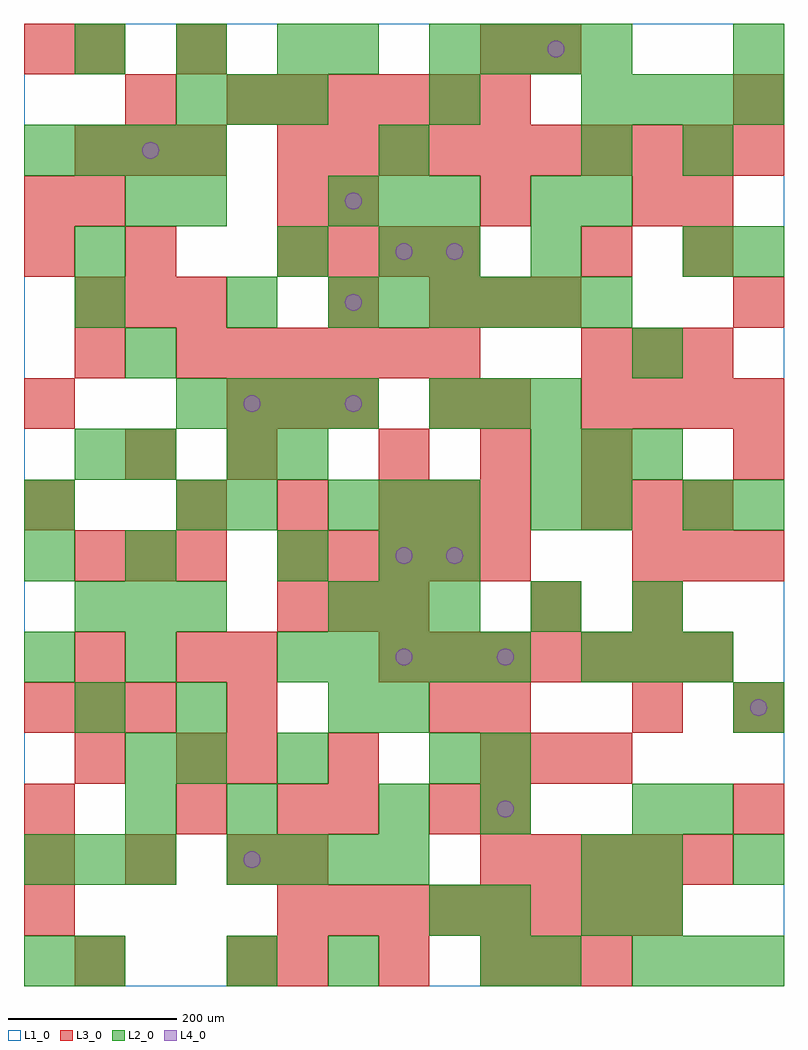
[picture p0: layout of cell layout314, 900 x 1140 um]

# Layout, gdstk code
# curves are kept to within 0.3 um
import gdstk
lib = gdstk.Library(unit=1e-6, precision=1e-09)
def R(c, l, rs):  # rectangles x0, y0, x1, y1
    for r in rs: c.add(gdstk.rectangle(r[:2], r[2:], *l))
def A(c, l, x, y, w, h, nx, ny, dx, dy):  # array of equal rectangles
    R(c, l, [(x+i*dx, y+j*dy, x+i*dx+w, y+j*dy+h) for i in range(nx) for j in range(ny)])
def P(c, l, *ps):  # polygons
    for p in ps: c.add(gdstk.Polygon(p, *l))
L1_0 = (1, 0)
L2_0 = (2, 0)
L3_0 = (3, 0)
L4_0 = (4, 0)

layout314 = lib.new_cell('layout314')
R(layout314, L1_0, [(0,0,900,1140)])
A(layout314, L2_0, 60, 0, 60, 60, 1, 3, 0, 300)
A(layout314, L2_0, 720, 0, 60, 60, 3, 1, 60, 0)
A(layout314, L2_0, 720, 60, 60, 60, 1, 3, 0, 60)
A(layout314, L2_0, 0, 120, 60, 60, 3, 1, 60, 0)
A(layout314, L2_0, 240, 120, 60, 60, 4, 1, 60, 0)
A(layout314, L2_0, 120, 240, 60, 60, 1, 5, 0, 120)
A(layout314, L2_0, 300, 360, 60, 60, 5, 1, 60, 0)
A(layout314, L2_0, 660, 360, 60, 60, 3, 1, 60, 0)
A(layout314, L2_0, 60, 420, 60, 60, 3, 1, 60, 0)
A(layout314, L2_0, 360, 420, 60, 60, 3, 2, 60, 120)
A(layout314, L2_0, 600, 600, 60, 60, 3, 1, 60, 0)
A(layout314, L2_0, 180, 660, 60, 60, 4, 1, 60, 0)
A(layout314, L2_0, 480, 660, 60, 60, 3, 1, 60, 0)
A(layout314, L2_0, 360, 780, 60, 60, 6, 1, 60, 0)
A(layout314, L2_0, 360, 900, 60, 60, 3, 1, 60, 0)
A(layout314, L2_0, 0, 960, 60, 60, 4, 1, 60, 0)
A(layout314, L2_0, 180, 1020, 60, 60, 3, 1, 60, 0)
A(layout314, L2_0, 660, 1020, 60, 60, 4, 1, 60, 0)
A(layout314, L2_0, 60, 1080, 60, 60, 3, 1, 120, 0)
A(layout314, L2_0, 480, 1080, 60, 60, 4, 1, 60, 0)
R(layout314, L2_0, [(0,0,60,60), (240,0,300,60), (360,0,420,60), (540,0,600,60), (600,0,660,60), (480,60,540,120), (540,60,600,120), (660,60,720,120), (660,120,720,180), (840,120,900,180), (120,180,180,240), (240,180,300,240), (420,180,480,240), (540,180,600,240), (780,180,840,240), (180,240,240,300), (300,240,360,300), (480,240,540,300), (540,240,600,300), (180,300,240,360), (360,300,420,360), (420,300,480,360), (840,300,900,360), (0,360,60,420), (600,420,660,480), (720,420,780,480), (0,480,60,540), (300,480,360,540), (420,480,480,540), (480,480,540,540), (0,540,60,600), (180,540,240,600), (240,540,300,600), (600,540,660,600), (660,540,720,600), (780,540,840,600), (840,540,900,600), (240,600,300,660), (300,600,360,660), (720,720,780,780), (60,780,120,840), (240,780,300,840), (60,840,120,900), (300,840,360,900), (420,840,480,900), (480,840,540,900), (600,840,660,900), (780,840,840,900), (840,840,900,900), (120,900,180,960), (180,900,240,960), (600,900,660,960), (660,900,720,960), (420,960,480,1020), (660,960,720,1020), (780,960,840,1020), (480,1020,540,1080), (360,1080,420,1140), (840,1080,900,1140)])
A(layout314, L3_0, 300, 0, 60, 60, 3, 1, 120, 0)
A(layout314, L3_0, 300, 60, 60, 60, 8, 1, 60, 0)
A(layout314, L3_0, 0, 120, 60, 60, 3, 1, 120, 0)
A(layout314, L3_0, 540, 120, 60, 60, 5, 1, 60, 0)
A(layout314, L3_0, 240, 240, 60, 60, 1, 3, 0, 60)
A(layout314, L3_0, 540, 240, 60, 60, 3, 1, 60, 0)
A(layout314, L3_0, 0, 300, 60, 60, 3, 1, 60, 0)
A(layout314, L3_0, 420, 360, 60, 60, 7, 1, 60, 0)
A(layout314, L3_0, 300, 420, 60, 60, 3, 1, 60, 0)
A(layout314, L3_0, 60, 480, 60, 60, 3, 2, 60, 300)
A(layout314, L3_0, 300, 480, 60, 60, 5, 1, 60, 0)
A(layout314, L3_0, 720, 480, 60, 60, 3, 1, 60, 0)
A(layout314, L3_0, 180, 540, 60, 60, 3, 1, 120, 0)
A(layout314, L3_0, 660, 540, 60, 60, 3, 2, 60, 180)
A(layout314, L3_0, 420, 600, 60, 60, 3, 1, 120, 0)
A(layout314, L3_0, 240, 660, 60, 60, 3, 1, 60, 0)
A(layout314, L3_0, 660, 660, 60, 60, 4, 1, 60, 0)
A(layout314, L3_0, 60, 720, 60, 60, 1, 3, 0, 180)
A(layout314, L3_0, 180, 720, 60, 60, 6, 1, 60, 0)
A(layout314, L3_0, 480, 780, 60, 60, 3, 1, 60, 0)
A(layout314, L3_0, 300, 840, 60, 60, 4, 1, 60, 0)
A(layout314, L3_0, 360, 900, 60, 60, 3, 1, 180, 0)
A(layout314, L3_0, 60, 960, 60, 60, 3, 1, 60, 0)
A(layout314, L3_0, 300, 960, 60, 60, 10, 1, 60, 0)
A(layout314, L3_0, 240, 1020, 60, 60, 6, 1, 60, 0)
R(layout314, L3_0, [(60,0,120,60), (240,0,300,60), (600,0,660,60), (660,0,720,60), (0,60,60,120), (300,120,360,180), (0,180,60,240), (180,180,240,240), (300,180,360,240), (360,180,420,240), (480,180,540,240), (540,180,600,240), (840,180,900,240), (60,240,120,300), (180,240,240,300), (360,240,420,300), (480,300,540,360), (540,300,600,360), (720,300,780,360), (840,300,900,360), (60,360,120,420), (180,360,240,420), (600,420,660,480), (720,420,780,480), (0,540,60,600), (480,540,540,600), (540,540,600,600), (120,600,180,660), (240,600,300,660), (840,600,900,660), (0,660,60,720), (480,660,540,720), (540,660,600,720), (360,780,420,840), (840,780,900,840), (0,840,60,900), (120,840,180,900), (660,840,720,900), (780,840,840,900), (0,900,60,960), (300,900,360,960), (780,900,840,960), (120,1020,180,1080), (840,1020,900,1080), (0,1080,60,1140), (180,1080,240,1140), (540,1080,600,1140), (600,1080,660,1140)])
P(layout314, L4_0, [(160,990),(159.239,993.827),(157.071,997.071),(153.827,999.239),(150,1000),(146.173,999.239),(142.929,997.071),(140.761,993.827),(140,990),(140.761,986.173),(142.929,982.929),(146.173,980.761),(150,980),(153.827,980.761),(157.071,982.929),(159.239,986.173)],
  [(280,150),(279.239,153.827),(277.071,157.071),(273.827,159.239),(270,160),(266.173,159.239),(262.929,157.071),(260.761,153.827),(260,150),(260.761,146.173),(262.929,142.929),(266.173,140.761),(270,140),(273.827,140.761),(277.071,142.929),(279.239,146.173)],
  [(280,690),(279.239,693.827),(277.071,697.071),(273.827,699.239),(270,700),(266.173,699.239),(262.929,697.071),(260.761,693.827),(260,690),(260.761,686.173),(262.929,682.929),(266.173,680.761),(270,680),(273.827,680.761),(277.071,682.929),(279.239,686.173)],
  [(400,690),(399.239,693.827),(397.071,697.071),(393.827,699.239),(390,700),(386.173,699.239),(382.929,697.071),(380.761,693.827),(380,690),(380.761,686.173),(382.929,682.929),(386.173,680.761),(390,680),(393.827,680.761),(397.071,682.929),(399.239,686.173)],
  [(400,810),(399.239,813.827),(397.071,817.071),(393.827,819.239),(390,820),(386.173,819.239),(382.929,817.071),(380.761,813.827),(380,810),(380.761,806.173),(382.929,802.929),(386.173,800.761),(390,800),(393.827,800.761),(397.071,802.929),(399.239,806.173)],
  [(400,930),(399.239,933.827),(397.071,937.071),(393.827,939.239),(390,940),(386.173,939.239),(382.929,937.071),(380.761,933.827),(380,930),(380.761,926.173),(382.929,922.929),(386.173,920.761),(390,920),(393.827,920.761),(397.071,922.929),(399.239,926.173)],
  [(460,390),(459.239,393.827),(457.071,397.071),(453.827,399.239),(450,400),(446.173,399.239),(442.929,397.071),(440.761,393.827),(440,390),(440.761,386.173),(442.929,382.929),(446.173,380.761),(450,380),(453.827,380.761),(457.071,382.929),(459.239,386.173)],
  [(460,510),(459.239,513.827),(457.071,517.071),(453.827,519.239),(450,520),(446.173,519.239),(442.929,517.071),(440.761,513.827),(440,510),(440.761,506.173),(442.929,502.929),(446.173,500.761),(450,500),(453.827,500.761),(457.071,502.929),(459.239,506.173)],
  [(460,870),(459.239,873.827),(457.071,877.071),(453.827,879.239),(450,880),(446.173,879.239),(442.929,877.071),(440.761,873.827),(440,870),(440.761,866.173),(442.929,862.929),(446.173,860.761),(450,860),(453.827,860.761),(457.071,862.929),(459.239,866.173)],
  [(520,510),(519.239,513.827),(517.071,517.071),(513.827,519.239),(510,520),(506.173,519.239),(502.929,517.071),(500.761,513.827),(500,510),(500.761,506.173),(502.929,502.929),(506.173,500.761),(510,500),(513.827,500.761),(517.071,502.929),(519.239,506.173)],
  [(520,870),(519.239,873.827),(517.071,877.071),(513.827,879.239),(510,880),(506.173,879.239),(502.929,877.071),(500.761,873.827),(500,870),(500.761,866.173),(502.929,862.929),(506.173,860.761),(510,860),(513.827,860.761),(517.071,862.929),(519.239,866.173)],
  [(580,210),(579.239,213.827),(577.071,217.071),(573.827,219.239),(570,220),(566.173,219.239),(562.929,217.071),(560.761,213.827),(560,210),(560.761,206.173),(562.929,202.929),(566.173,200.761),(570,200),(573.827,200.761),(577.071,202.929),(579.239,206.173)],
  [(580,390),(579.239,393.827),(577.071,397.071),(573.827,399.239),(570,400),(566.173,399.239),(562.929,397.071),(560.761,393.827),(560,390),(560.761,386.173),(562.929,382.929),(566.173,380.761),(570,380),(573.827,380.761),(577.071,382.929),(579.239,386.173)],
  [(640,1110),(639.239,1113.827),(637.071,1117.071),(633.827,1119.239),(630,1120),(626.173,1119.239),(622.929,1117.071),(620.761,1113.827),(620,1110),(620.761,1106.173),(622.929,1102.929),(626.173,1100.761),(630,1100),(633.827,1100.761),(637.071,1102.929),(639.239,1106.173)],
  [(880,330),(879.239,333.827),(877.071,337.071),(873.827,339.239),(870,340),(866.173,339.239),(862.929,337.071),(860.761,333.827),(860,330),(860.761,326.173),(862.929,322.929),(866.173,320.761),(870,320),(873.827,320.761),(877.071,322.929),(879.239,326.173)])

lib.write_gds('layout314.gds')
